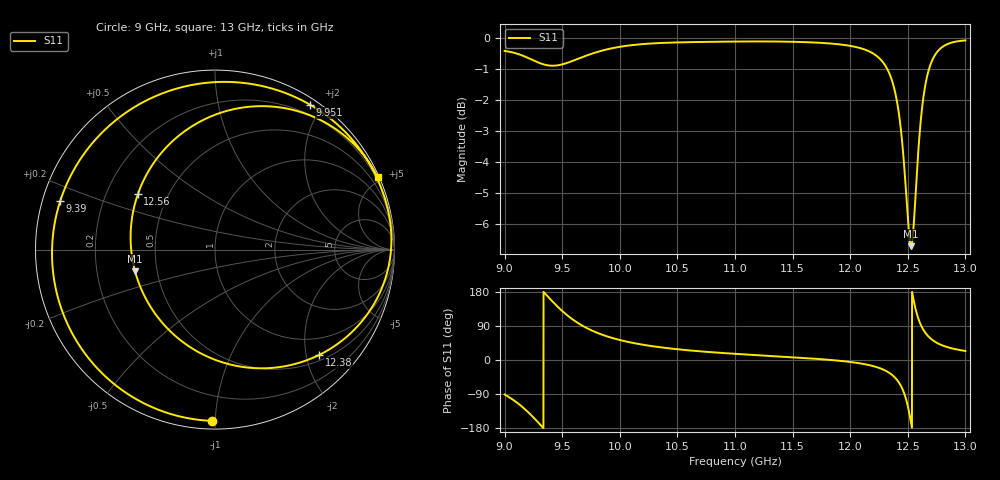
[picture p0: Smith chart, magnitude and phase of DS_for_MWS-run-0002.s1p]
! TOUCHSTONE file generated by CST DESIGN STUDIO
! Date and time: Tue Feb  4 17:33:34 2025
! Project name: C:\Work\MatlabApps\UnitCellOptimizationMatlab\CST\unitcell.cst
! Tree item: Tasks\Sweep1\SPara1\S-Parameters
! Header version: 2024
! Port assignment regex: !\s*Touchstone port\s*([0-9]+)\s*=\s*(CST MWS port|CST DES external port|CST DES block port)\s*(.+)\s* \(\"(.*)\"\)(\s*mode\s*([0-9]+))?.*
! Touchstone port assignment:
! Touchstone port 1 = CST DES external port 1 ("")
# GHz S MA R 50
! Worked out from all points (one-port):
!   4001 points, 9 GHz to 13 GHz, reference 50 ohm
!   lowest |S11| = -6.7 dB at 12.53 GHz (marker M1), VSWR 2.71, Z = 18.7 - j5.69 ohm
!   |S11| at or under -10 dB: nowhere
!   S11 on the Smith chart (normalised r, x): 9 GHz: 0.05, -0.98; 9.39 GHz: 0.05, +0.15; 9.951 GHz: 0.08, +1.85; 12.38 GHz: 0.61, -2.26; 12.56 GHz: 0.34, +0.29; 13 GHz: 0.09, +4.73
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9  0.9544 -91.1
9.098  0.9459 -110.3
9.183  0.9335 -131.7
9.293  0.914 -165.3
9.39  0.9038 162.7
9.5  0.9077 129.4
9.579  0.9178 109.6
9.669  0.9317 91.6
9.803  0.9505 71.8
9.951  0.9654 56.7
10  0.9691 52.8
10.5  0.985 28.4
11  0.9882 16.3
11.5  0.9874 7.2
12  0.9725 -5.2
12.254  0.9283 -21.3
12.328  0.8874 -31.7
12.385  0.8259 -45.2
12.454  0.671 -76.9
12.5  0.5117 -121.6
12.528  0.4614 -164.9
12.56  0.5291 144.3
12.592  0.6605 108.8
12.624  0.7721 85.8
12.673  0.8768 64.1
12.728  0.9346 49.8
12.835  0.9771 34.8
13  0.9923 23.9
